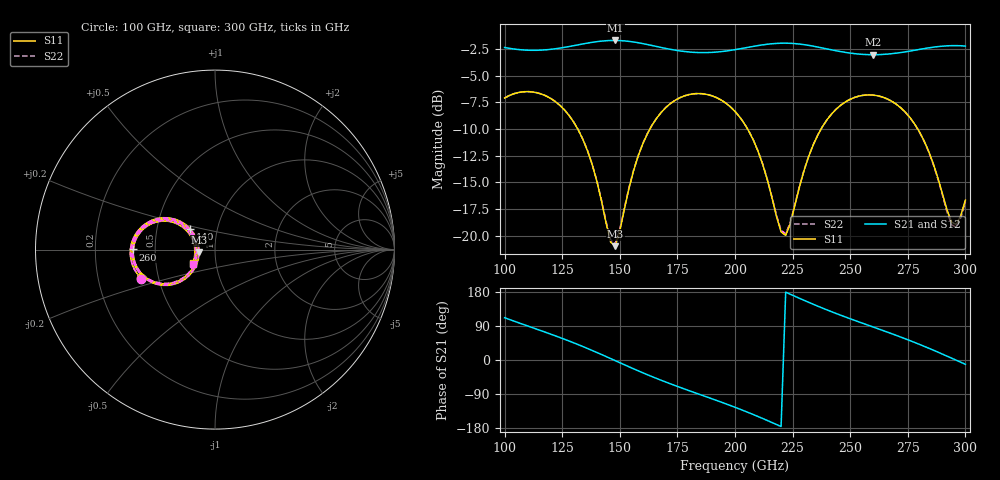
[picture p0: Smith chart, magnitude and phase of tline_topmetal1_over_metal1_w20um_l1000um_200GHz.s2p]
#  GHZ S DB R 50
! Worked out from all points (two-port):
!   101 points, 100 GHz to 300 GHz, reference 50 ohm
!   highest |S21| = -1.72 dB at 148 GHz (marker M1); lowest = -3.1 dB at 260 GHz (marker M2)
!   |S21| within 3 dB of the highest: start of sweep to end of sweep
!   lowest |S11| = -21.0 dB at 148 GHz (marker M3), VSWR 1.20, Z = 41.9 - j1.23 ohm
!   |S11| at or under -10 dB: 131.7 GHz to 163.1 GHz (31.44 GHz wide, 21.3 % of centre); 205.4 GHz to 237.4 GHz (32.02 GHz wide, 14.5 % of centre); 279.3 GHz to end of sweep
!   |S22| runs from -20.8 to -6.5 dB; largest |S21 - S12| = 1.3e-13
!   S11 on the Smith chart (normalised r, x): 100 GHz: 0.40, -0.16; 140 GHz: 0.74, +0.18; 260 GHz: 0.37, +0.00; 300 GHz: 0.77, -0.12
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100  -7.11 -158.6  -2.38 111.6  -2.38 111.6  -7.10 -158.5
116  -6.74 172.5  -2.62 77.0  -2.62 77.0  -6.74 172.7
126  -8.23 155.0  -2.36 54.7  -2.36 54.7  -8.22 155.3
134  -11.00 142.8  -2.04 35.4  -2.04 35.4  -10.98 143.2
140  -14.88 139.8  -1.83 20.0  -1.83 20.0  -14.83 140.4
146  -20.60 166.8  -1.72 3.8  -1.72 3.8  -20.39 167.2
148  -20.99 -170.6  -1.72 -1.6  -1.72 -1.6  -20.76 -170.8
158  -12.53 -135.4  -1.93 -28.6  -1.93 -28.6  -12.50 -135.9
168  -8.45 -149.2  -2.38 -53.6  -2.38 -53.6  -8.44 -149.5
184  -6.69 -177.0  -2.85 -89.4  -2.85 -89.4  -6.69 -177.1
200  -8.37 155.9  -2.58 -124.7  -2.58 -124.7  -8.36 155.9
212  -13.31 142.2  -2.13 -154.3  -2.13 -154.3  -13.28 142.4
220  -19.66 168.9  -1.97 -175.6  -1.97 -175.6  -19.51 169.0
222  -19.98 -172.0  -1.97 178.9  -1.97 178.9  -19.82 -172.3
234  -11.48 -139.3  -2.25 147.0  -2.25 147.0  -11.46 -139.8
246  -7.77 -156.6  -2.77 117.9  -2.77 117.9  -7.76 -157.0
260  -6.84 179.9  -3.05 87.0  -3.05 87.0  -6.84 179.5
268  -7.41 166.7  -2.96 69.4  -2.96 69.4  -7.41 166.3
282  -11.09 147.0  -2.48 36.4  -2.48 36.4  -11.12 146.3
294  -18.74 171.1  -2.20 4.9  -2.20 4.9  -18.98 170.6
296  -18.97 -172.6  -2.20 -0.5  -2.20 -0.5  -19.23 -172.5
300  -16.68 -148.1  -2.24 -11.3  -2.24 -11.3  -16.82 -147.3
